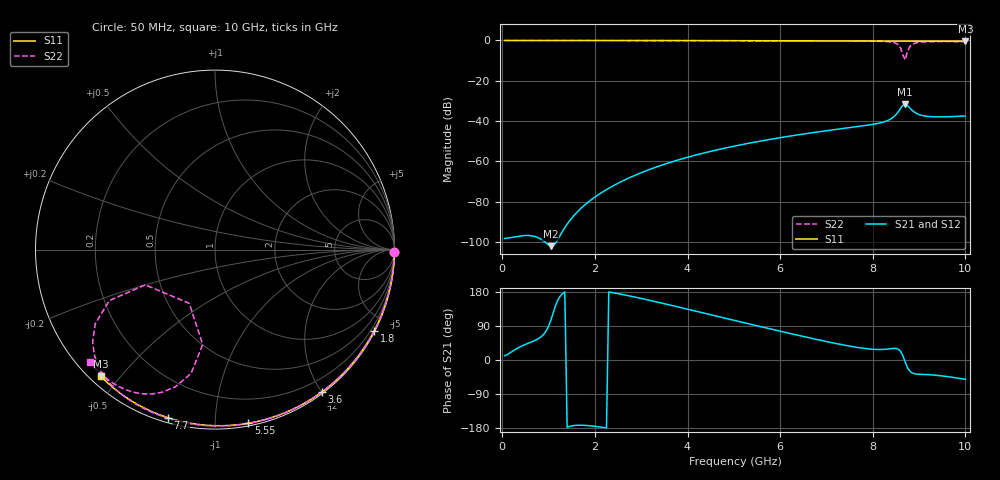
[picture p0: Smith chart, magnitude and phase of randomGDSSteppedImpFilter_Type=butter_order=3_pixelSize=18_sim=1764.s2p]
! freq	dB(S11)	phase(S11)	dB(S12)	phase(S12)
!  dB(S21)	phase(S21)	dB(S22)	phase(S22)
!S-par simulation data
#  GHz  S  DB  R 50
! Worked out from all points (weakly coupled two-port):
!   200 points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, 50 MHz to 10 GHz, reference 50 ohm
!   highest |S21| = -31.58 dB at 8.7 GHz (marker M1); lowest = -102.0 dB at 1.05 GHz (marker M2)
!   lowest |S11| = -0.4 dB at 10 GHz (marker M3), VSWR 38.87, Z = 1.54 - j22.2 ohm
!   |S11| at or under -10 dB: nowhere
!   |S22| runs from -9.6 to 0.0 dB; largest |S21 - S12| = 0
!   S11 on the Smith chart (normalised r, x): 50 MHz: open; 1.8 GHz: 0.04, -4.15; 3.6 GHz: 0.02, -2.01; 5.55 GHz: 0.02, -1.21; 7.7 GHz: 0.02, -0.76; 10 GHz: 0.03, -0.44
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0.05  -0.00 -0.8  -98.18 11.5  -98.18 11.5  -0.00 -0.8
1.05  -0.02 -15.9  -102.01 105.5  -102.01 105.5  -0.02 -17.3
1.75  -0.03 -26.4  -82.18 -172.3  -82.18 -172.3  -0.04 -28.6
1.8  -0.03 -27.1  -81.18 -172.6  -81.18 -172.6  -0.04 -29.4
2.65  -0.05 -39.5  -69.08 171.5  -69.08 171.5  -0.06 -42.9
3.4  -0.07 -50.2  -62.16 151.4  -62.16 151.4  -0.07 -54.4
3.6  -0.07 -53.0  -60.65 145.7  -60.65 145.7  -0.08 -57.5
5.05  -0.11 -72.6  -52.20 103.3  -52.20 103.3  -0.12 -78.8
5.55  -0.13 -79.1  -49.99 88.9  -49.99 88.9  -0.14 -85.9
6.7  -0.18 -93.6  -45.73 56.7  -45.73 56.7  -0.20 -102.1
7.7  -0.24 -105.6  -42.63 32.6  -42.63 32.6  -0.29 -117.2
8.35  -0.29 -113.2  -39.42 29.3  -39.42 29.3  -0.65 -133.4
8.45  -0.30 -114.4  -37.92 30.7  -37.92 30.7  -1.00 -139.0
8.55  -0.31 -115.5  -35.39 28.7  -35.39 28.7  -2.12 -148.3
8.6  -0.31 -116.1  -33.70 23.1  -33.70 23.1  -3.70 -154.2
8.65  -0.31 -116.7  -32.15 11.3  -32.15 11.3  -7.22 -153.2
8.7  -0.32 -117.2  -31.58 -5.5  -31.58 -5.5  -9.58 -115.5
8.75  -0.32 -117.8  -32.28 -20.5  -32.28 -20.5  -5.45 -97.4
8.8  -0.32 -118.4  -33.51 -29.6  -33.51 -29.6  -3.06 -100.9
8.9  -0.33 -119.6  -35.57 -36.3  -35.57 -36.3  -1.43 -110.4
9.25  -0.37 -123.6  -37.78 -39.0  -37.78 -39.0  -0.62 -124.8
10  -0.45 -132.1  -37.46 -50.9  -37.46 -50.9  -0.55 -138.0
